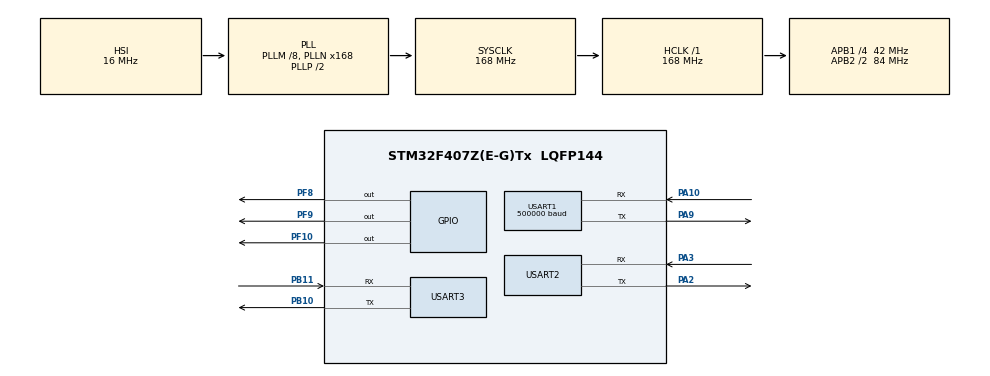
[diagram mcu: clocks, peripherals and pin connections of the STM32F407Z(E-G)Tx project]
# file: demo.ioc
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Dma.Request0=USART3_TX
Dma.Request1=USART3_RX
Dma.USART3_RX.1.Direction=DMA_PERIPH_TO_MEMORY
Dma.USART3_RX.1.FIFOMode=DMA_FIFOMODE_DISABLE
Dma.USART3_RX.1.Instance=DMA1_Stream1
Dma.USART3_RX.1.MemDataAlignment=DMA_MDATAALIGN_BYTE
Dma.USART3_RX.1.MemInc=DMA_MINC_ENABLE
Dma.USART3_RX.1.Mode=DMA_NORMAL
Dma.USART3_RX.1.PeriphDataAlignment=DMA_PDATAALIGN_BYTE
Dma.USART3_RX.1.PeriphInc=DMA_PINC_DISABLE
Dma.USART3_RX.1.Priority=DMA_PRIORITY_LOW
Dma.USART3_TX.0.Direction=DMA_MEMORY_TO_PERIPH
Dma.USART3_TX.0.FIFOMode=DMA_FIFOMODE_DISABLE
Dma.USART3_TX.0.Instance=DMA1_Stream3
Dma.USART3_TX.0.MemDataAlignment=DMA_MDATAALIGN_BYTE
Dma.USART3_TX.0.MemInc=DMA_MINC_ENABLE
Dma.USART3_TX.0.Mode=DMA_NORMAL
Dma.USART3_TX.0.PeriphDataAlignment=DMA_PDATAALIGN_BYTE
Dma.USART3_TX.0.PeriphInc=DMA_PINC_DISABLE
Dma.USART3_TX.0.Priority=DMA_PRIORITY_LOW
Mcu.Family=STM32F4
Mcu.Name=STM32F407Z(E-G)Tx
Mcu.Package=LQFP144
NVIC.DMA1_Stream1_IRQn=true\:0\:0\:false\:false\:true\:false\:true\:true
NVIC.DMA1_Stream3_IRQn=true\:0\:0\:false\:false\:true\:false\:true\:true
NVIC.PriorityGroup=NVIC_PRIORITYGROUP_4
NVIC.USART1_IRQn=true\:0\:0\:false\:false\:true\:true\:true\:true
NVIC.USART2_IRQn=true\:0\:0\:false\:false\:true\:true\:true\:true
NVIC.USART3_IRQn=true\:0\:0\:false\:false\:true\:true\:true\:true
PA10.Mode=Asynchronous
PA10.Signal=USART1_RX
PA13.Mode=Serial_Wire
PA13.Signal=SYS_JTMS-SWDIO
PA14.Mode=Serial_Wire
PA14.Signal=SYS_JTCK-SWCLK
PA2.Mode=Asynchronous
PA2.Signal=USART2_TX
PA3.Mode=Asynchronous
PA3.Signal=USART2_RX
PA9.Mode=Asynchronous
PA9.Signal=USART1_TX
PB10.Mode=Asynchronous
PB10.Signal=USART3_TX
PB11.Mode=Asynchronous
PB11.Signal=USART3_RX
PF10.Signal=GPIO_Output
PF8.Signal=GPIO_Output
PF9.Signal=GPIO_Output
PH0-OSC_IN.Mode=HSE-External-Oscillator
PH0-OSC_IN.Signal=RCC_OSC_IN
PH1-OSC_OUT.Mode=HSE-External-Oscillator
PH1-OSC_OUT.Signal=RCC_OSC_OUT
ProjectManager.HeapSize=0x200
ProjectManager.StackSize=0x400
ProjectManager.TargetToolchain=MDK-ARM V5.32
RCC.48MHZClocksFreq_Value=84000000
RCC.AHBFreq_Value=168000000
RCC.APB1CLKDivider=RCC_HCLK_DIV4
RCC.APB1Freq_Value=42000000
RCC.APB1TimFreq_Value=84000000
RCC.APB2CLKDivider=RCC_HCLK_DIV2
RCC.APB2Freq_Value=84000000
RCC.APB2TimFreq_Value=168000000
RCC.CortexFreq_Value=168000000
RCC.HCLKFreq_Value=168000000
RCC.HSE_VALUE=25000000
RCC.HSI_VALUE=16000000
RCC.LSE_VALUE=32768
RCC.PLLM=8
RCC.PLLN=168
RCC.SYSCLKFreq_VALUE=168000000
RCC.SYSCLKSource=RCC_SYSCLKSOURCE_PLLCLK
RCC.VCOOutputFreq_Value=336000000
USART1.BaudRate=500000
USART1.VirtualMode=VM_ASYNC
USART2.VirtualMode=VM_ASYNC
USART3.VirtualMode=VM_ASYNC
board=custom

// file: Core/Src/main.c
/* USER CODE BEGIN Header */
/**
  ******************************************************************************
  * @file           : main.c
  * @brief          : Main program body
  ******************************************************************************
  * @attention
  *
  * Copyright (c) 2026 STMicroelectronics.
  * All rights reserved.
  *
  * This software is licensed under terms that can be found in the LICENSE file
  * in the root directory of this software component.
  * If no LICENSE file comes with this software, it is provided AS-IS.
  *
  ******************************************************************************
  */
/* USER CODE END Header */
#include "main.h"
#include "dma.h"
#include "usart.h"
#include "gpio.h"

/* USER CODE BEGIN Includes */
#include "stdio.h"
#include "string.h"

#include "tjc.h"
#include "clc.h"
#include "path.h"
#include "analysis.h"
#define FRAME_LENGTH 7

 int path[200];
 char path8[100];
 int forbidden[] = {42, 43, 44};
 int len;
 int flag=0;
 char message[2]="ok";
 int temp=0;
 uint8_t animal[5]={0};
 uint8_t num[5]={0};
 uint8_t count=0;
 char txt[19];
 char val[13];
 uint8_t position=0;
 char objname[5]=" ";
 uint8_t ReceivePath[100]={0};
 uint16_t rx_len=0;
/* USER CODE END Includes */

void SystemClock_Config(void);

/* USER CODE BEGIN 0 */

void handle_forbidden()
{
	temp=(int)receiveData[2];
	forbidden[count]=temp;
	count++;
	if(count>2)
	{
		count=0;
	}
	HAL_UART_Transmit_IT(&huart3,(uint8_t*)forbidden,sizeof(forbidden));
}

void show()
{
	uint8_t tem=receiveData[2]-receiveData[2]/10-9;
	int n = snprintf(txt, sizeof(txt),
                       "b%d.txt=\"%d%d%d%d%d\"\xff\xff\xff",
				tem,receiveData[3],receiveData[4],receiveData[5],receiveData[6],receiveData[7]);
	HAL_UART_Transmit(&huart3,(uint8_t*)txt,n,100);

	if(tem!=position)
	{
		for(int i=0;i<5;i++)
		    {
			 animal[i]+=num[i];

			 int s = snprintf(val, sizeof(val), "n%d.val=%d\xff\xff\xff",12+i,animal[i]);
				HAL_UART_Transmit(&huart3,(uint8_t*)val,s,100);
		      }

			position=tem;
			 }

	    for(int i=0;i<5;i++)
		{
			num[i]=receiveData[i+3];
		}
}

void HAL_UARTEx_RxEventCallback(UART_HandleTypeDef *huart,uint16_t Size)
{
	if(huart==&huart3)
	{
		if(receiveData[0]==0xAA)
		{
			if(receiveData[1]==0x01)
			{
				flag=2;

			}
			else if(receiveData[1]==0x02)
			{
				flag=1;
			}

		}
		HAL_UARTEx_ReceiveToIdle_IT(&huart3,receiveData,sizeof(receiveData));

	}
	else if(huart==&huart2)
	{
		rx_len=Size;
		if(receiveData[0]==0xAA)
		{
			if(receiveData[1]==0x03)
			{
				flag=3;

			}
			else if(receiveData[1]==0x04)
			{
				flag=4;
			}
		}

		HAL_UARTEx_ReceiveToIdle_IT(&huart2,receiveData,sizeof(receiveData));
	}
	else if(huart==&huart1)
	{
		//flag=4;

		HAL_UARTEx_ReceiveToIdle_IT(&huart1,ReceivePath,sizeof(ReceivePath));
	}

}
/* USER CODE END 0 */

int main(void)
{

  /* MCU Configuration--------------------------------------------------------*/

  /* Reset of all peripherals, Initializes the Flash interface and the Systick. */
  HAL_Init();

  /* Configure the system clock */
  SystemClock_Config();

  /* Initialize all configured peripherals */
  MX_GPIO_Init();
  MX_DMA_Init();
  MX_USART2_UART_Init();
  MX_USART3_UART_Init();
  MX_USART1_UART_Init();
  /* USER CODE BEGIN 2 */

  	initRingBuffer();		//��ʼ�����λ�����
	int a = 100;
	char str[100];
	uint32_t nowtime = HAL_GetTick();
	HAL_UARTEx_ReceiveToIdle_IT(&huart3,receiveData,sizeof(receiveData));
	HAL_UARTEx_ReceiveToIdle_IT(&huart2,receiveData,sizeof(receiveData));
	HAL_UARTEx_ReceiveToIdle_IT(&huart1,ReceivePath,sizeof(ReceivePath));

  /* USER CODE END 2 */

  /* Infinite loop */
  /* USER CODE BEGIN WHILE */
  while (1)
  {
	 if(flag==1)
	 {
		 beep();
		// solve_path_return_start(19, forbidden, 3, path, &len);
		// path_to_gui_lines(path, len);
		 beep();
		 beep();
		 flag=0;

	 }
	 else if(flag==2)
	 {
		 beep();
		 handle_forbidden();
		 flag=0;
	 }
	  else if(flag==3)
	 {
		 beep();
		 show();
		 flag=0;
	 }
	 else if(flag==4)
	 {
		 beep();
		 HAL_UART_Transmit(&huart1,receiveData,rx_len,100);
		 flag=0;
	 }

    /* USER CODE END WHILE */

  }
}

void SystemClock_Config(void)
{
  RCC_OscInitTypeDef RCC_OscInitStruct = {0};
  RCC_ClkInitTypeDef RCC_ClkInitStruct = {0};

  /** Configure the main internal regulator output voltage
  */
  __HAL_RCC_PWR_CLK_ENABLE();
  __HAL_PWR_VOLTAGESCALING_CONFIG(PWR_REGULATOR_VOLTAGE_SCALE1);

  /** Initializes the RCC Oscillators according to the specified parameters
  * in the RCC_OscInitTypeDef structure.
  */
  RCC_OscInitStruct.OscillatorType = RCC_OSCILLATORTYPE_HSI;
  RCC_OscInitStruct.HSIState = RCC_HSI_ON;
  RCC_OscInitStruct.HSICalibrationValue = RCC_HSICALIBRATION_DEFAULT;
  RCC_OscInitStruct.PLL.PLLState = RCC_PLL_ON;
  RCC_OscInitStruct.PLL.PLLSource = RCC_PLLSOURCE_HSI;
  RCC_OscInitStruct.PLL.PLLM = 8;
  RCC_OscInitStruct.PLL.PLLN = 168;
  RCC_OscInitStruct.PLL.PLLP = RCC_PLLP_DIV2;
  RCC_OscInitStruct.PLL.PLLQ = 4;
  if (HAL_RCC_OscConfig(&RCC_OscInitStruct) != HAL_OK)
  {
    Error_Handler();
  }

  /** Initializes the CPU, AHB and APB buses clocks
  */
  RCC_ClkInitStruct.ClockType = RCC_CLOCKTYPE_HCLK|RCC_CLOCKTYPE_SYSCLK
                              |RCC_CLOCKTYPE_PCLK1|RCC_CLOCKTYPE_PCLK2;
  RCC_ClkInitStruct.SYSCLKSource = RCC_SYSCLKSOURCE_PLLCLK;
  RCC_ClkInitStruct.AHBCLKDivider = RCC_SYSCLK_DIV1;
  RCC_ClkInitStruct.APB1CLKDivider = RCC_HCLK_DIV4;
  RCC_ClkInitStruct.APB2CLKDivider = RCC_HCLK_DIV2;

  if (HAL_RCC_ClockConfig(&RCC_ClkInitStruct, FLASH_LATENCY_5) != HAL_OK)
  {
    Error_Handler();
  }
}

void Error_Handler(void)
{
  __disable_irq();
  while (1)
  {
  }
}
